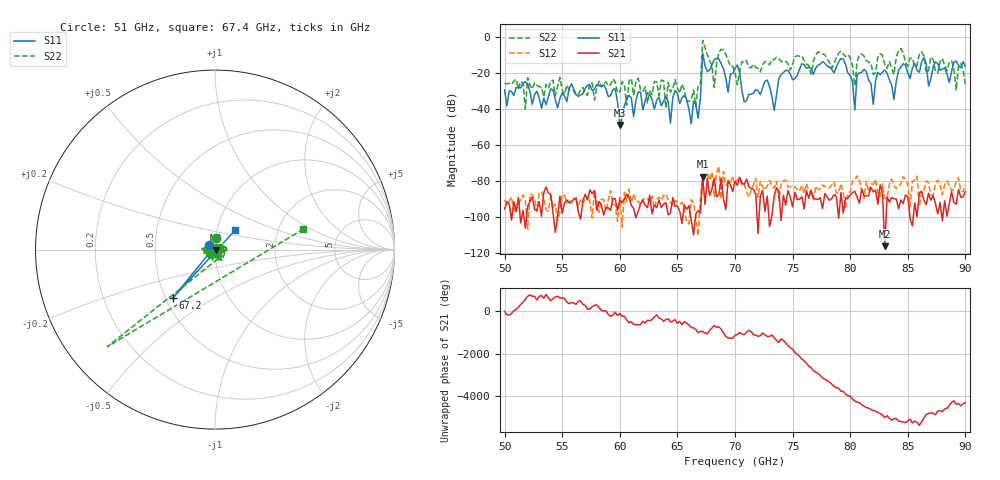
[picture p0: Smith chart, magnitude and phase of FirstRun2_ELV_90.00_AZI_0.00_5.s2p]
! 11/24/2026 3:19:02 PM
! C:\ANRITSUVNA\TEMP\TEMP.S2P
! CHANNEL.1
! TR.MEASUREMENT
! RAW.DATA
# HZ S RI R 50.0
! FREQ.HZ  S11RE  S11IM  S21RE  S21IM  S12RE  S12IM  S22RE  S22IM
!; PortSelection: Port_12
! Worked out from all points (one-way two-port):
!   201 points, 50 GHz to 90 GHz, reference 50 ohm
!   highest |S21| = -77.58 dB at 67.2 GHz (marker M1); lowest = -116.3 dB at 83 GHz (marker M2)
!   lowest |S11| = -48.9 dB at 60 GHz (marker M3), VSWR 1.01, Z = 50.3 - j0.14 ohm
!   |S11| at or under -10 dB: start of sweep to 67.19 GHz; 67.23 GHz to end of sweep
!   |S22| runs from -40.0 to -1.9 dB; largest |S21 - S12| = 0.00026
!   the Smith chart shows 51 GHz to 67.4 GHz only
!   S11 on the Smith chart (normalised r, x): 51 GHz: 0.94, +0.05; 67.2 GHz: 0.54, -0.34; 67.4 GHz: 1.22, +0.27
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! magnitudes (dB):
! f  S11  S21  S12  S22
! 50 GHz  -29.4  -95.7  -90.6  -25.6
! 51 GHz  -28.1  -96.8  -98.1  -23.4
! 56.8 GHz  -31.4  -90.6  -92.1  -28.0
! 59.6 GHz  -28.8  -89.9  -93.1  -24.9
! 60 GHz  -48.9  -90.5  -89.1  -30.5
! 63.4 GHz  -33.3  -90.6  -89.0  -32.6
! 66.8 GHz  -45.2  -96.4  -110.5  -26.4
! 67.2 GHz  -8.9  -77.6  -77.0  -1.9
! 67.4 GHz  -16.1  -93.1  -77.2  -6.0
! 68.2 GHz  -12.5  -78.5  -88.8  -28.1
! 68.8 GHz  -14.8  -78.4  -90.1  -6.7
! 70 GHz  -17.4  -80.3  -81.9  -19.9
! 73.4 GHz  -40.8  -88.5  -84.1  -12.7
! 74.2 GHz  -19.7  -88.0  -79.8  -13.6
! 76.8 GHz  -20.7  -89.6  -90.4  -13.6
! 79.4 GHz  -12.2  -97.9  -87.0  -9.4
! 80.4 GHz  -40.6  -85.8  -79.6  -27.1
! 80.6 GHz  -21.0  -89.2  -77.1  -13.9
! 82 GHz  -37.4  -86.1  -81.9  -20.9
! 83 GHz  -18.3  -116.3  -89.9  -15.4
! 83.4 GHz  -23.7  -91.9  -81.9  -13.6
! 90 GHz  -16.3  -86.0  -82.2  -27.0
